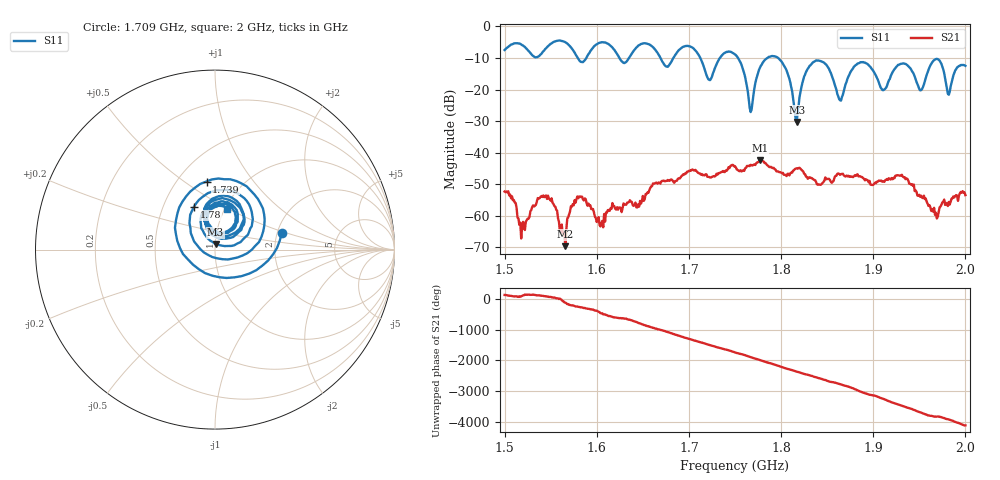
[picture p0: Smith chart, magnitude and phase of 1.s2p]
! NanoVNA-App by SYSJOINT et al v1.1.209 (+OD18)
! Date: 2026-01-21 14:17:57
! Start: 1,5GHz Stop: 2GHz Points: 501
! S-Parameter data: F S11 S21 S12 S22
# Hz S RI R 50
!  Frequency  S11_Real  S11_Imag  S21_Real  S21_Imag  S12_Real  S12_Imag  S22_Real  S22_Imag
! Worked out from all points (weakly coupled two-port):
!   501 points, 1.5 GHz to 2 GHz, reference 50 ohm
!   highest |S21| = -42.45 dB at 1.777 GHz (marker M1); lowest = -69.6 dB at 1.566 GHz (marker M2)
!   lowest |S11| = -30.3 dB at 1.817 GHz (marker M3), VSWR 1.06, Z = 50.2 + j3.05 ohm
!   |S11| at or under -10 dB: 1.712 GHz to 1.734 GHz (21.19 MHz wide, 1.23 % of centre); 1.753 GHz to 1.785 GHz (31.6 MHz wide, 1.79 % of centre); 1.797 GHz to end of sweep (the widest 3 of 6)
!   S12 and S22 are empty: the file has one direction only
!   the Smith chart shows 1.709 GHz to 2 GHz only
!   S11 on the Smith chart (normalised r, x): 1.709 GHz: 2.12, +0.46; 1.739 GHz: 0.69, +0.61; 1.78 GHz: 0.71, +0.37; 2 GHz: 1.02, +0.49
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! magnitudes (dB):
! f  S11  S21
! 1.5 GHz  -7.5  -52.3
! 1.52 GHz  -6.0  -61.9
! 1.566 GHz  -5.0  -69.6
! 1.584 GHz  -11.3  -53.9
! 1.605 GHz  -5.0  -62.3
! 1.667 GHz  -8.9  -49.5
! 1.709 GHz  -8.3  -46.1
! 1.722 GHz  -16.9  -47.7
! 1.739 GHz  -8.4  -46.1
! 1.75 GHz  -8.9  -44.3
! 1.767 GHz  -27.1  -43.9
! 1.777 GHz  -13.1  -42.5
! 1.78 GHz  -11.5  -42.7
! 1.802 GHz  -11.8  -46.4
! 1.817 GHz  -30.3  -45.0
! 1.834 GHz  -11.5  -48.3
! 1.864 GHz  -23.4  -47.0
! 1.885 GHz  -11.6  -47.5
! 1.917 GHz  -17.1  -48.1
! 1.969 GHz  -10.3  -60.9
! 1.982 GHz  -21.6  -55.6
! 2 GHz  -12.5  -53.5
